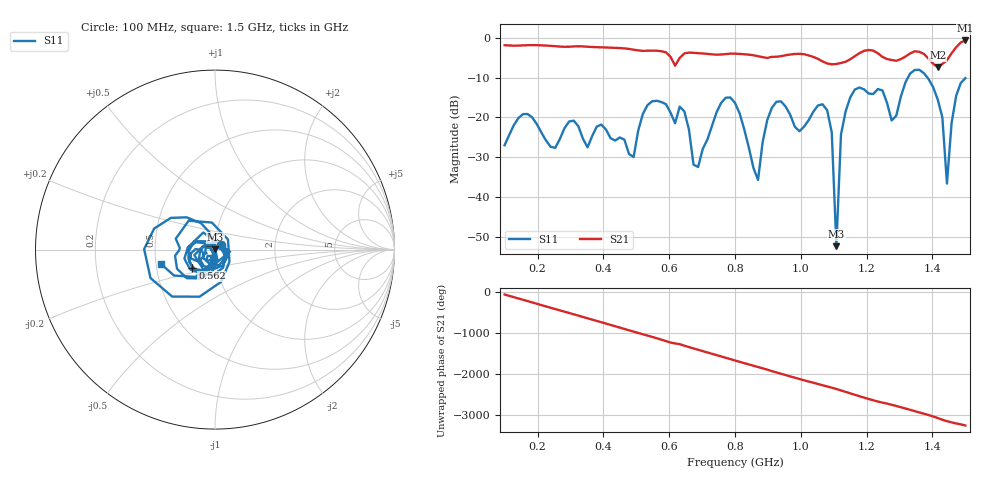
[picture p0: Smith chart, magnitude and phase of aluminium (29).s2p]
! NanoVNA-App
! Date: 2025-09-26 09:58:17
! Start: 100MHz Stop: 1,5GHz Points: 101
! S-Parameter data: F S11 S21 S12 S22
# Hz S RI R 50
!  Frequency  S11_Real  S11_Imag  S21_Real  S21_Imag  S12_Real  S12_Imag  S22_Real  S22_Imag
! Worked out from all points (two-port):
!   101 points, 100 MHz to 1.5 GHz, reference 50 ohm
!   highest |S21| = -0.73 dB at 1.5 GHz (marker M1); lowest = -7.4 dB at 1.416 GHz (marker M2)
!   |S21| within 3 dB of the highest: start of sweep to 590.5 MHz; 1.182 GHz to 1.23 GHz (47.35 MHz wide, 3.93 % of centre)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
!   lowest |S11| = -52.2 dB at 1.108 GHz (marker M3), VSWR 1.00, Z = 50.2 + j0.145 ohm
!   |S11| at or under -10 dB: start of sweep to 1.326 GHz; 1.384 GHz to end of sweep
!   S12 and S22 are empty: the file has one direction only
!   S11 on the Smith chart (normalised r, x): 100 MHz: 1.07, +0.06; 562 MHz: 0.76, -0.16; 1.5 GHz: 0.53, -0.09
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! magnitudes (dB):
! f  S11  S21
! 100 MHz  -27.0  -1.9
! 156 MHz  -19.2  -2.0
! 338 MHz  -25.3  -2.2
! 492 MHz  -29.9  -3.0
! 562 MHz  -15.8  -3.3
! 576 MHz  -16.1  -3.4
! 646 MHz  -18.5  -4.0
! 688 MHz  -32.4  -3.9
! 800 MHz  -16.4  -4.0
! 870 MHz  -35.6  -4.7
! 926 MHz  -16.1  -4.8
! 1.038 GHz  -18.6  -4.8
! 1.094 GHz  -23.7  -6.7
! 1.108 GHz  -52.2  -6.6
! 1.122 GHz  -24.3  -6.4
! 1.15 GHz  -15.0  -5.4
! 1.276 GHz  -20.8  -5.6
! 1.346 GHz  -8.1  -3.4
! 1.416 GHz  -15.5  -7.4
! 1.444 GHz  -36.5  -5.7
! 1.472 GHz  -14.6  -2.4
! 1.5 GHz  -10.2  -0.7
